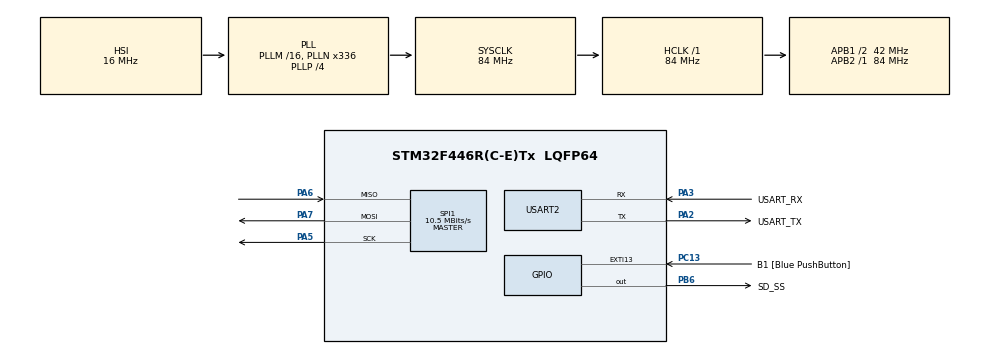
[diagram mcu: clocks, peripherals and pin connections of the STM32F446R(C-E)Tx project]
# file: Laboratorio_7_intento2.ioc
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FATFS._MAX_SS=4096
FATFS._USE_LFN=1
Mcu.Family=STM32F4
Mcu.Name=STM32F446R(C-E)Tx
Mcu.Package=LQFP64
NVIC.PriorityGroup=NVIC_PRIORITYGROUP_0
NVIC.USART2_IRQn=true\:0\:0\:false\:false\:true\:true\:true\:true
PA13.GPIO_Label=TMS
PA13.Mode=Serial_Wire
PA13.Signal=SYS_JTMS-SWDIO
PA14.GPIO_Label=TCK
PA14.Mode=Serial_Wire
PA14.Signal=SYS_JTCK-SWCLK
PA2.GPIO_Label=USART_TX
PA2.Mode=Asynchronous
PA2.Signal=USART2_TX
PA3.GPIO_Label=USART_RX
PA3.Mode=Asynchronous
PA3.Signal=USART2_RX
PA5.Mode=Full_Duplex_Master
PA5.Signal=SPI1_SCK
PA6.Mode=Full_Duplex_Master
PA6.Signal=SPI1_MISO
PA7.Mode=Full_Duplex_Master
PA7.Signal=SPI1_MOSI
PB3.GPIO_Label=SWO
PB3.Signal=SYS_JTDO-SWO
PB6.GPIO_Label=SD_SS
PB6.GPIO_Speed=GPIO_SPEED_FREQ_MEDIUM
PB6.PinState=GPIO_PIN_SET
PB6.Signal=GPIO_Output
PC13.GPIO_Label=B1 [Blue PushButton]
PC13.GPIO_ModeDefaultEXTI=GPIO_MODE_IT_FALLING
PC13.Signal=GPXTI13
PC14-OSC32_IN.Mode=LSE-External-Oscillator
PC14-OSC32_IN.Signal=RCC_OSC32_IN
PC15-OSC32_OUT.Mode=LSE-External-Oscillator
PC15-OSC32_OUT.Signal=RCC_OSC32_OUT
PH0-OSC_IN.Mode=HSE-External-Oscillator
PH0-OSC_IN.Signal=RCC_OSC_IN
PH1-OSC_OUT.Mode=HSE-External-Oscillator
PH1-OSC_OUT.Signal=RCC_OSC_OUT
ProjectManager.HeapSize=0x200
ProjectManager.StackSize=0x400
ProjectManager.TargetToolchain=STM32CubeIDE
RCC.48MHZClocksFreq_Value=84000000
RCC.AHBFreq_Value=84000000
RCC.APB1CLKDivider=RCC_HCLK_DIV2
RCC.APB1Freq_Value=42000000
RCC.APB1TimFreq_Value=84000000
RCC.APB2Freq_Value=84000000
RCC.APB2TimFreq_Value=84000000
RCC.CortexFreq_Value=84000000
RCC.FLatency-AdvancedSettings=FLASH_LATENCY_2
RCC.HCLKFreq_Value=84000000
RCC.HSE_VALUE=8000000
RCC.HSI_VALUE=16000000
RCC.PLLN=336
RCC.PLLP=RCC_PLLP_DIV4
RCC.SYSCLKFreq_VALUE=84000000
RCC.SYSCLKSource=RCC_SYSCLKSOURCE_PLLCLK
RCC.USBFreq_Value=168000000
RCC.VCOOutputFreq_Value=336000000
SPI1.BaudRatePrescaler=SPI_BAUDRATEPRESCALER_8
SPI1.CalculateBaudRate=10.5 MBits/s
SPI1.Direction=SPI_DIRECTION_2LINES
SPI1.Mode=SPI_MODE_MASTER
SPI1.VirtualType=VM_MASTER
USART2.VirtualMode=VM_ASYNC
VP_FATFS_VS_Generic.Mode=User_defined
board=NUCLEO-F446RE

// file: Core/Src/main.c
/* USER CODE BEGIN Header */
/**
  ******************************************************************************
  * @file           : main.c
  * @brief          : Main program body
  ******************************************************************************
  * @attention
  *
  * Copyright (c) 2025 STMicroelectronics.
  * All rights reserved.
  *
  * This software is licensed under terms that can be found in the LICENSE file
  * in the root directory of this software component.
  * If no LICENSE file comes with this software, it is provided AS-IS.
  *
  ******************************************************************************
  */
/* USER CODE END Header */
#include "main.h"
#include "fatfs.h"

/* USER CODE BEGIN Includes */

#include "fatfs_sd.h"
#include "string.h"
#include "stdio.h"

/* USER CODE END Includes */

/* USER CODE BEGIN PD */

SPI_HandleTypeDef hspi1;
FATFS fs;
FATFS *pfs;
FIL fil;
FRESULT fres;
DWORD fre_clust;
uint32_t totalSpace, freeSpace;
char buffer[100];

/* USER CODE END PD */

SPI_HandleTypeDef hspi1;

UART_HandleTypeDef huart2;

/* USER CODE BEGIN PV */

//Variables de manejo de Menu

uint8_t flag_menu = 1; // Bandera de control de menu
uint8_t RX1_buffer = 0; //Variable de recepción UART

/* USER CODE END PV */

void SystemClock_Config(void);
static void MX_GPIO_Init(void);
static void MX_USART2_UART_Init(void);
static void MX_SPI1_Init(void);
/* USER CODE BEGIN PFP */

void transmit_uart(char *string);
void enviar_gojo(void);
void enviar_asta(void);
void enviar_senku(void);

/* USER CODE END PFP */

int main(void)
{

  /* MCU Configuration--------------------------------------------------------*/

  /* Reset of all peripherals, Initializes the Flash interface and the Systick. */

HAL_Init();

  /* Configure the system clock */
  SystemClock_Config();

  /* Initialize all configured peripherals */
  MX_GPIO_Init();
  MX_USART2_UART_Init();
  MX_SPI1_Init();
  MX_FATFS_Init();
  /* USER CODE BEGIN 2 */

  HAL_UART_Receive_IT(&huart2, &RX1_buffer, 1);

  /* USER CODE END 2 */

  /* Infinite loop */
  /* USER CODE BEGIN WHILE */
  while (1)
  {

	  while(flag_menu){

		  transmit_uart("------Desplegar Imagenes-----");
		  transmit_uart("a. Ajolote");
		  transmit_uart("b. Cerdo");
		  transmit_uart("c. Esqueleto");

		  flag_menu = 0; //Apagar menu
	  }

	  if(flag_menu == 0){

		  switch(RX1_buffer){

		  case'a':
			  transmit_uart("----Ajolote----");

			  enviar_gojo();
			  RX1_buffer = 0;
			  flag_menu = 1;
		  break;

		  case 'b':
			  transmit_uart("----Cerdo----");

			  enviar_asta();
			  RX1_buffer = 0;
			  flag_menu = 1;
		  break;

		  case 'c':
			  transmit_uart("----Esqueleto----");

			  enviar_senku();
			  RX1_buffer = 0;
			  flag_menu = 1;
		  break;

		  }
	  }

    /* USER CODE END WHILE */

  }
}

void SystemClock_Config(void)
{
  RCC_OscInitTypeDef RCC_OscInitStruct = {0};
  RCC_ClkInitTypeDef RCC_ClkInitStruct = {0};

  /** Configure the main internal regulator output voltage
  */
  __HAL_RCC_PWR_CLK_ENABLE();
  __HAL_PWR_VOLTAGESCALING_CONFIG(PWR_REGULATOR_VOLTAGE_SCALE3);

  /** Initializes the RCC Oscillators according to the specified parameters
  * in the RCC_OscInitTypeDef structure.
  */
  RCC_OscInitStruct.OscillatorType = RCC_OSCILLATORTYPE_HSI;
  RCC_OscInitStruct.HSIState = RCC_HSI_ON;
  RCC_OscInitStruct.HSICalibrationValue = RCC_HSICALIBRATION_DEFAULT;
  RCC_OscInitStruct.PLL.PLLState = RCC_PLL_ON;
  RCC_OscInitStruct.PLL.PLLSource = RCC_PLLSOURCE_HSI;
  RCC_OscInitStruct.PLL.PLLM = 16;
  RCC_OscInitStruct.PLL.PLLN = 336;
  RCC_OscInitStruct.PLL.PLLP = RCC_PLLP_DIV4;
  RCC_OscInitStruct.PLL.PLLQ = 2;
  RCC_OscInitStruct.PLL.PLLR = 2;
  if (HAL_RCC_OscConfig(&RCC_OscInitStruct) != HAL_OK)
  {
    Error_Handler();
  }

  /** Initializes the CPU, AHB and APB buses clocks
  */
  RCC_ClkInitStruct.ClockType = RCC_CLOCKTYPE_HCLK|RCC_CLOCKTYPE_SYSCLK
                              |RCC_CLOCKTYPE_PCLK1|RCC_CLOCKTYPE_PCLK2;
  RCC_ClkInitStruct.SYSCLKSource = RCC_SYSCLKSOURCE_PLLCLK;
  RCC_ClkInitStruct.AHBCLKDivider = RCC_SYSCLK_DIV1;
  RCC_ClkInitStruct.APB1CLKDivider = RCC_HCLK_DIV2;
  RCC_ClkInitStruct.APB2CLKDivider = RCC_HCLK_DIV1;

  if (HAL_RCC_ClockConfig(&RCC_ClkInitStruct, FLASH_LATENCY_2) != HAL_OK)
  {
    Error_Handler();
  }
}

static void MX_SPI1_Init(void)
{

  /* SPI1 parameter configuration*/
  hspi1.Instance = SPI1;
  hspi1.Init.Mode = SPI_MODE_MASTER;
  hspi1.Init.Direction = SPI_DIRECTION_2LINES;
  hspi1.Init.DataSize = SPI_DATASIZE_8BIT;
  hspi1.Init.CLKPolarity = SPI_POLARITY_LOW;
  hspi1.Init.CLKPhase = SPI_PHASE_1EDGE;
  hspi1.Init.NSS = SPI_NSS_SOFT;
  hspi1.Init.BaudRatePrescaler = SPI_BAUDRATEPRESCALER_8;
  hspi1.Init.FirstBit = SPI_FIRSTBIT_MSB;
  hspi1.Init.TIMode = SPI_TIMODE_DISABLE;
  hspi1.Init.CRCCalculation = SPI_CRCCALCULATION_DISABLE;
  hspi1.Init.CRCPolynomial = 10;
  if (HAL_SPI_Init(&hspi1) != HAL_OK)
  {
    Error_Handler();
  }

}

static void MX_USART2_UART_Init(void)
{

  huart2.Instance = USART2;
  huart2.Init.BaudRate = 115200;
  huart2.Init.WordLength = UART_WORDLENGTH_8B;
  huart2.Init.StopBits = UART_STOPBITS_1;
  huart2.Init.Parity = UART_PARITY_NONE;
  huart2.Init.Mode = UART_MODE_TX_RX;
  huart2.Init.HwFlowCtl = UART_HWCONTROL_NONE;
  huart2.Init.OverSampling = UART_OVERSAMPLING_16;
  if (HAL_UART_Init(&huart2) != HAL_OK)
  {
    Error_Handler();
  }

}

static void MX_GPIO_Init(void)
{
  GPIO_InitTypeDef GPIO_InitStruct = {0};

  /* GPIO Ports Clock Enable */
  __HAL_RCC_GPIOC_CLK_ENABLE();
  __HAL_RCC_GPIOH_CLK_ENABLE();
  __HAL_RCC_GPIOA_CLK_ENABLE();
  __HAL_RCC_GPIOB_CLK_ENABLE();

  /*Configure GPIO pin Output Level */
  HAL_GPIO_WritePin(SD_SS_GPIO_Port, SD_SS_Pin, GPIO_PIN_SET);

  /*Configure GPIO pin : B1_Pin */
  GPIO_InitStruct.Pin = B1_Pin;
  GPIO_InitStruct.Mode = GPIO_MODE_IT_FALLING;
  GPIO_InitStruct.Pull = GPIO_NOPULL;
  HAL_GPIO_Init(B1_GPIO_Port, &GPIO_InitStruct);

  /*Configure GPIO pin : SD_SS_Pin */
  GPIO_InitStruct.Pin = SD_SS_Pin;
  GPIO_InitStruct.Mode = GPIO_MODE_OUTPUT_PP;
  GPIO_InitStruct.Pull = GPIO_NOPULL;
  GPIO_InitStruct.Speed = GPIO_SPEED_FREQ_MEDIUM;
  HAL_GPIO_Init(SD_SS_GPIO_Port, &GPIO_InitStruct);

}

/* USER CODE BEGIN 4 */

void transmit_uart(char *string)
{
	char spaceBuffer[1]="\n";
    HAL_UART_Transmit(&huart2, (uint8_t *)string, strlen(string), HAL_MAX_DELAY);
    HAL_UART_Transmit(&huart2, spaceBuffer, 1, HAL_MAX_DELAY);
}

void transmit_uart_n(char *string)
{
	char spaceBuffer[1]="\n";
    HAL_UART_Transmit(&huart2, (uint8_t *)string, strlen(string), HAL_MAX_DELAY);
    //HAL_UART_Transmit(&huart2, spaceBuffer, 1, HAL_MAX_DELAY);
}

void enviar_gojo(void){

	//enviar a Gojo

	//MONTAR SD
	f_mount(&fs, "/", 0);
	if(fres == FR_OK){
		transmit_uart("SD montada correctamente");
	} else if (fres == !FR_OK){
		transmit_uart("ERROR: SD no pudo ser montada");
	}

	// ABRIR ARCHIVO
	f_open(&fil, "ajolote.txt",FA_READ);
	if(fres == FR_OK){
		transmit_uart("Archivo abierto correctamente");
	} else if (fres == !FR_OK){
		transmit_uart("ERROR: Archivo no pudo abrirse correctamente");
	}

	//LEER ARCHIVO
	transmit_uart("Leyendo");
	while(f_gets(buffer, sizeof(buffer), &fil)){
		char mRd[100];
		sprintf(mRd, "%s", buffer);
		transmit_uart_n(mRd);
	}
	transmit_uart("Lectura temrinada");

	//CERRAR EL ARCHIVO

	fres = f_close(&fil);
	if(fres == FR_OK){
		transmit_uart("Archivo cerrado correctamente");
	} else if (fres == !FR_OK){
		transmit_uart("ERROR: Archivo no pudo cerrarse correctamente");
	}

	//DESMONTAR
	f_mount(NULL, "", 1);
	if(fres == FR_OK){
		transmit_uart("SD desmontada correctamente");
	} else if (fres == !FR_OK){
		transmit_uart("ERROR: SD no pudo desmontarse correctamente");
	}

}
void enviar_asta(void){

	//Enviar a Asta
	//MONTAR SD
	f_mount(&fs, "/", 0);
	if(fres == FR_OK){
		transmit_uart("SD montada correctamente");
	} else if (fres == !FR_OK){
		transmit_uart("ERROR: SD no pudo ser montada");
	}

	// ABRIR ARCHIVO
	f_open(&fil, "cerdo.txt", FA_READ);
	if(fres == FR_OK){
		transmit_uart("Archivo abierto correctamente");
	} else if (fres == !FR_OK){
		transmit_uart("ERROR: Archivo no pudo abrirse correctamente");
	}

	//LEER ARCHIVO

	while(f_gets(buffer, sizeof(buffer), &fil)){
		char mRd[100];
		sprintf(mRd, "%s", buffer);
		transmit_uart_n(mRd);
	}

	//CERRAR EL ARCHIVO

	fres = f_close(&fil);
	if(fres == FR_OK){
		transmit_uart("Archivo cerrado correctamente");
	} else if (fres == !FR_OK){
		transmit_uart("ERROR: Archivo no pudo cerrarse correctamente");
	}

	//DESMONTAR
	f_mount(NULL, "", 1);
	if(fres == FR_OK){
		transmit_uart("SD desmontada correctamente");
	} else if (fres == !FR_OK){
		transmit_uart("ERROR: SD no pudo desmontarse correctamente");
	}

}
void enviar_senku(void){

	//Enviar a Senku

	//MONTAR SD
	f_mount(&fs, "/", 0);
	if(fres == FR_OK){
		transmit_uart("SD montada correctamente");
	} else if (fres == !FR_OK){
		transmit_uart("ERROR: SD no pudo ser montada");
	}

	// ABRIR ARCHIVO
	f_open(&fil, "esqueleto.txt", FA_READ);
	if(fres == FR_OK){
		transmit_uart("Archivo abierto correctamente");
	} else if (fres == !FR_OK){
		transmit_uart("ERROR: Archivo no pudo abrirse correctamente");
	}

	//LEER ARCHIVO

	while(f_gets(buffer, sizeof(buffer), &fil)){
		char mRd[100];
		sprintf(mRd, "%s", buffer);
		transmit_uart_n(mRd);
	}

	//CERRAR EL ARCHIVO

	fres = f_close(&fil);
	if(fres == FR_OK){
		transmit_uart("Archivo cerrado correctamente");
	} else if (fres == !FR_OK){
		transmit_uart("ERROR: Archivo no pudo cerrarse correctamente");
	}

	//DESMONTAR
	f_mount(NULL, "", 1);
	if(fres == FR_OK){
		transmit_uart("SD desmontada correctamente");
	} else if (fres == !FR_OK){
		transmit_uart("ERROR: SD no pudo desmontarse correctamente");
	}

}

void HAL_UART_RxCpltCallback(UART_HandleTypeDef *huart)
{
  /* Prevent unused argument(s) compilation warning */
  UNUSED(huart);
  /* NOTE: This function should not be modified, when the callback is needed,
           the HAL_UART_RxCpltCallback could be implemented in the user file
   */

  HAL_UART_Receive_IT(&huart2, &RX1_buffer, 1);
  //transmit_uart("Interrupcion :D");

}

/* USER CODE END 4 */

void Error_Handler(void)
{
  __disable_irq();
  while (1)
  {
  }
}
